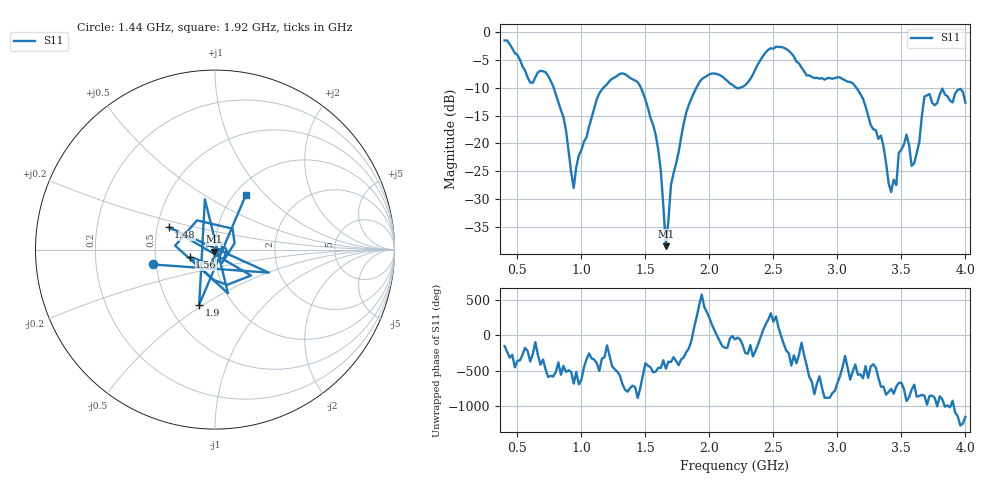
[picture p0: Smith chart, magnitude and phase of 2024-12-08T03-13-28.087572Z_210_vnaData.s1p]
!Created with skrf (http://scikit-rf.org).
# Hz S RI R 50.0
!freq ReS11 ImS11
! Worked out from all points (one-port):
!   181 points, 400 MHz to 4 GHz, reference 50 ohm
!   lowest |S11| = -38.5 dB at 1.66 GHz (marker M1), VSWR 1.02, Z = 49.5 - j1.09 ohm
!   |S11| at or under -10 dB: 783.4 MHz to 1.173 GHz (389.3 MHz wide, 39.8 % of centre); 1.465 GHz to 1.898 GHz (433.7 MHz wide, 25.8 % of centre); 3.147 GHz to end of sweep (the widest 3 of 4)
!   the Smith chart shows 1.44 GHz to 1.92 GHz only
!   S11 on the Smith chart (normalised r, x): 1.44 GHz: 0.48, -0.09; 1.48 GHz: 0.57, +0.16; 1.56 GHz: 0.75, -0.07; 1.9 GHz: 0.70, -0.48; 1.92 GHz: 1.13, +0.79
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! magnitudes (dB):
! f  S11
! 400 MHz  -1.5
! 600 MHz  -9.0
! 720 MHz  -7.2
! 860 MHz  -15.3
! 940 MHz  -28.0
! 1.12 GHz  -12.1
! 1.3 GHz  -7.5
! 1.44 GHz  -9.0
! 1.48 GHz  -10.8
! 1.56 GHz  -16.6
! 1.62 GHz  -24.8
! 1.66 GHz  -38.5
! 1.7 GHz  -27.4
! 1.76 GHz  -21.5
! 1.9 GHz  -9.9
! 1.92 GHz  -9.1
! 2.2 GHz  -9.8
! 2.48 GHz  -2.9
! 2.66 GHz  -4.4
! 3.1 GHz  -9.0
! 3.34 GHz  -18.6
! 3.42 GHz  -28.8
! 3.46 GHz  -27.5
! 3.48 GHz  -21.7
! 3.56 GHz  -20.3
! 3.6 GHz  -23.6
! 3.68 GHz  -11.6
! 4 GHz  -12.7
